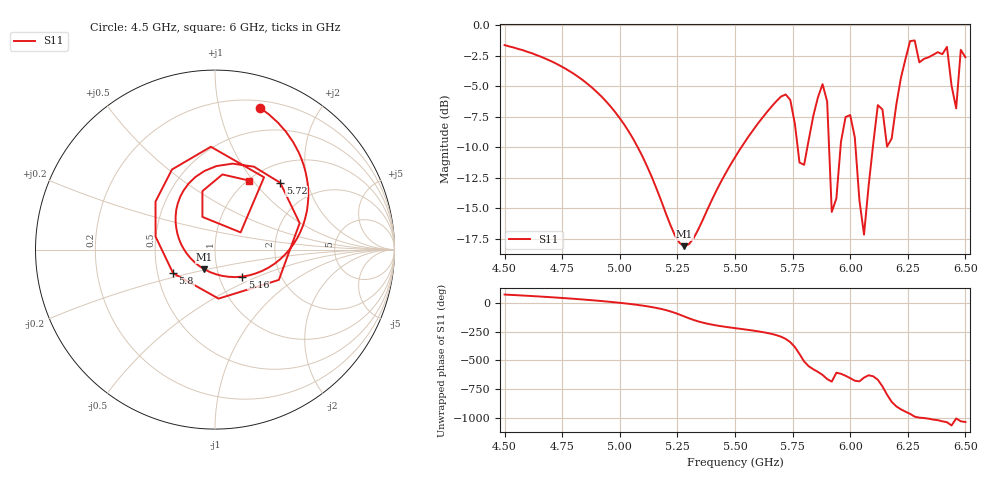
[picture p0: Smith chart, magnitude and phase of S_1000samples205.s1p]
! TOUCHSTONE file generated by CST MICROWAVE STUDIO
! Date and time: Thu Oct 27 09:14:51 2022
! Project name: L.cst
! Parameters = {Di=1.27; Epsilon_r=1.56; InnerDiameter=1.27; Length=2; Lf=10; Lg=60; OuterConductorThickness=0.2921; OuterDiameter=3.6; Wf=3; Wp=41.2; de=1.5; df=6.8; g=0.8; gx=3.04208; gy=2.53472; h=2.34; hf=1.524; px=14.1154; py=14.5357; w=9.7; wx=11.0733; wy=12.0009}
! Header version: 2018
! Port assignment regex: !\s*Touchstone port\s*([0-9]+)\s*=\s*(CST MWS port|CST DS port)\s*([0-9]+|Zmin|Zmax)\s*\(\"(.*)\"\)(\s*mode\s*([0-9]+))?.*
! Touchstone port assignment:
! Touchstone port 1 = CST MWS port 1 ("")
# GHz S DB R 50
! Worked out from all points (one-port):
!   101 points, 4.5 GHz to 6.5 GHz, reference 50 ohm
!   lowest |S11| = -18.1 dB at 5.28 GHz (marker M1), VSWR 1.28, Z = 43.4 - j9.62 ohm
!   |S11| at or under -10 dB: 5.078 GHz to 5.527 GHz (449.4 MHz wide, 8.47 % of centre); 5.772 GHz to 5.814 GHz (41.99 MHz wide, 0.725 % of centre); 6.023 GHz to 6.098 GHz (75.16 MHz wide, 1.24 % of centre) (the widest 3 of 4)
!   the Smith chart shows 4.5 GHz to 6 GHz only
!   S11 on the Smith chart (normalised r, x): 4.5 GHz: 0.27, +1.34; 5.16 GHz: 1.29, -0.40; 5.72 GHz: 1.34, +1.37; 5.8 GHz: 0.60, -0.17; 6 GHz: 1.01, +0.95
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4.5  -1.63 72.3
4.76  -3.52 41.0
5  -7.62 0.2
5.16  -13.42 -44.8
5.26  -17.84 -102.9
5.28  -18.10 -118.7
5.5  -10.82 139.6
5.64  -7.08 97.6
5.72  -5.67 45.7
5.76  -8.09 -25.4
5.8  -11.44 -150.7
5.84  -7.41 141.1
5.88  -4.83 92.3
5.9  -6.25 55.8
5.92  -15.29 33.9
5.96  -9.54 102.1
6  -7.36 63.9
6.06  -17.15 68.4
6.12  -6.55 49.8
6.14  -6.90 -7.9
6.16  -9.94 -80.0
6.2  -6.53 178.0
6.26  -1.30 113.1
6.28  -1.25 88.3
6.42  -1.78 39.9
6.44  -4.96 11.8
6.46  -6.81 72.6
6.5  -2.63 41.7
